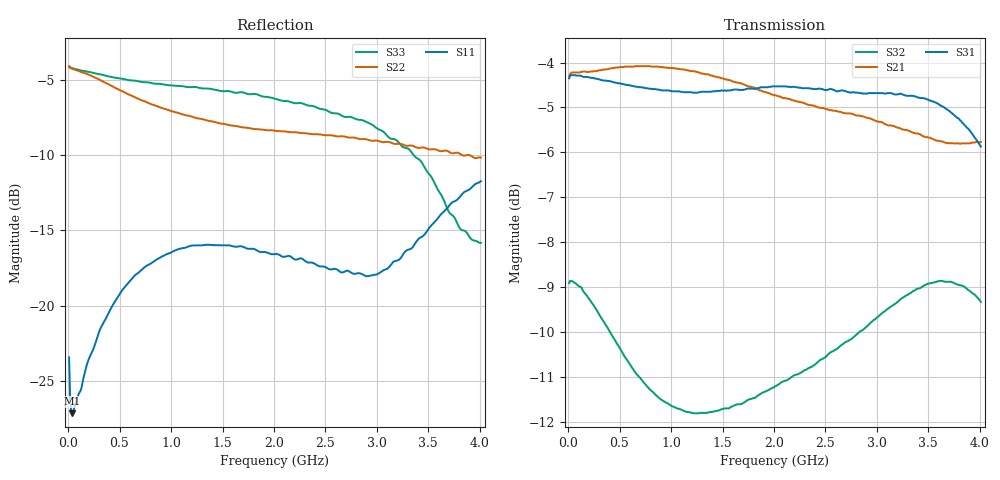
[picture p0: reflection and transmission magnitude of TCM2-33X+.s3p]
!Created: 08-06-2012 at 10:37:37
!MODEL: TCM2-33X+,Run # MHU7050
!S/N: Unit 1
!PORT1=PRIMARY DOT PORT2=SECONDARY DOT PORT3=SECONDARY
# MHz S dB R 50
!Frequency  S11 dB  S11 DEG  S12 dB  S12 DEG  S13 dB  S13 DEG  S21 dB  S21 DEG  S22 dB  S22 DEG  S23 dB  S23 DEG  S31 dB  S31 DEG  S32 dB  S32 DEG  S33 dB  S33 DEG
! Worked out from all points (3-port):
!   401 points, 10 MHz to 4.01 GHz, reference 50 ohm
!   strongest paths, dB at 10 MHz, 1.01 GHz, 2.01 GHz, 3.01 GHz, 4.01 GHz:
!     S31: -4.3, -4.6, -4.5, -4.7, -5.9
!     S21: -4.3, -4.1, -4.7, -5.3, -5.8
!     S32: -8.9, -11.7, -11.2, -9.7, -9.3
!   lowest |S11| = -27.1 dB at 40 MHz (marker M1), VSWR 1.09, Z = 53.4 + j3.05 ohm
!   |S11| at or under -10 dB: start of sweep to end of sweep
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10  -23.42 73.3  -4.32 3.0  -4.37 -177.1
    -4.31 3.0  -4.15 176.2  -8.91 -178.0
    -4.35 -177.2  -8.91 -178.0  -4.11 176.8
40  -27.13 40.4  -4.23 -0.5  -4.30 178.9
    -4.22 -0.6  -4.28 173.0  -8.88 175.7
    -4.28 178.9  -8.87 175.7  -4.24 175.3
320  -21.43 43.4  -4.16 -11.0  -4.40 166.0
     -4.17 -11.2  -5.06 136.2  -9.70 143.9
     -4.39 165.9  -9.68 143.9  -4.66 153.7
630  -18.11 38.6  -4.08 -22.8  -4.54 153.5
     -4.09 -22.9  -6.11 104.8  -10.83 117.7
     -4.52 153.5  -10.82 118.0  -5.06 133.3
1240  -16.00 19.0  -4.19 -47.2  -4.64 130.6
      -4.20 -47.3  -7.54 62.1  -11.75 83.0
      -4.67 130.4  -11.81 82.7  -5.49 99.4
2010  -16.57 1.4  -4.71 -78.4  -4.55 101.1
      -4.73 -78.5  -8.39 17.2  -11.18 46.7
      -4.53 101.0  -11.21 46.9  -6.27 59.0
2600  -17.56 3.9  -5.05 -103.0  -4.58 78.0
      -5.08 -103.0  -8.75 -15.9  -10.28 22.4
      -4.63 78.1  -10.39 21.6  -7.24 26.4
3050  -17.71 26.0  -5.30 -121.9  -4.63 59.8
      -5.33 -122.0  -9.14 -40.3  -9.60 0.6
      -4.68 59.5  -9.58 -0.1  -8.40 1.8
3620  -13.95 49.9  -5.69 -146.0  -4.96 33.8
      -5.75 -146.1  -9.75 -72.1  -8.78 -32.1
      -4.96 33.9  -8.86 -32.0  -12.60 -44.4
4010  -11.74 44.7  -5.68 -161.4  -5.85 12.6
      -5.77 -161.6  -10.17 -96.2  -9.25 -56.3
      -5.87 13.2  -9.33 -57.0  -15.83 -126.6
